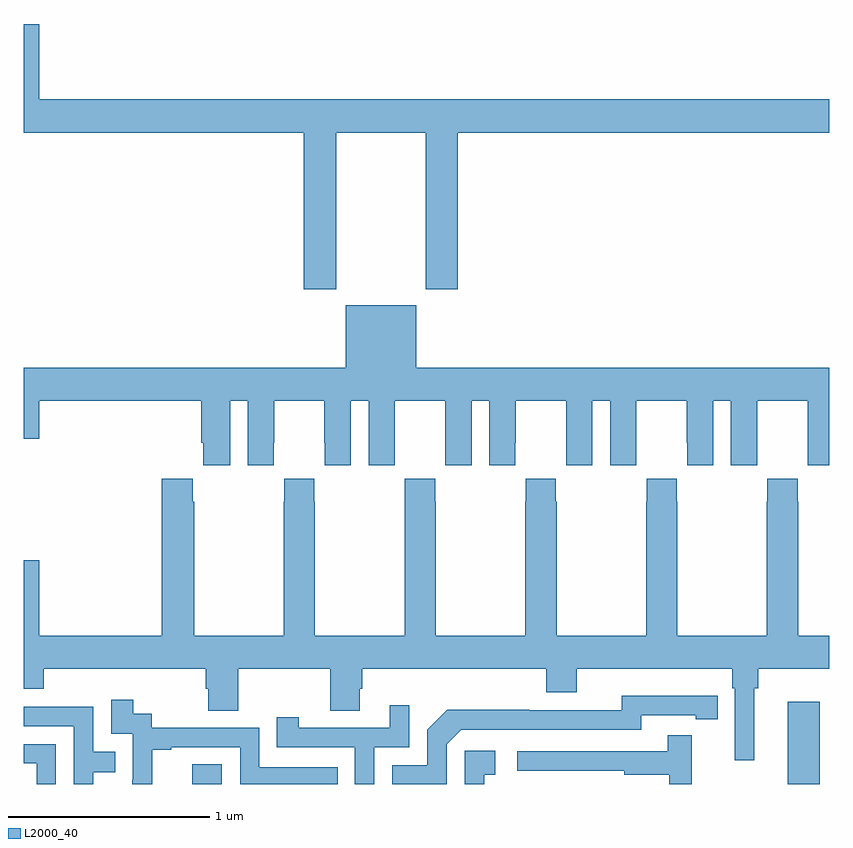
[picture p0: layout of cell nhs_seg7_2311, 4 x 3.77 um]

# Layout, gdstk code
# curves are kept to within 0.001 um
import gdstk
lib = gdstk.Library(unit=1e-6, precision=1e-09)
def R(c, l, rs):  # rectangles x0, y0, x1, y1
    for r in rs: c.add(gdstk.rectangle(r[:2], r[2:], *l))
def P(c, l, *ps):  # polygons
    for p in ps: c.add(gdstk.Polygon(p, *l))
L2000_40 = (2000, 40)

nhs_seg7_2311 = lib.new_cell('nhs_seg7_2311')
R(nhs_seg7_2311, L2000_40, [(261.837,1044,261.984,1044.097), (264.794,1044,264.953,1044.409)])
P(nhs_seg7_2311, L2000_40, [(262.551,1047.236),(262.996,1047.236),(262.996,1046.457),(263.156,1046.457),(263.156,1047.236),(265,1047.236),(265,1047.4),(261.076,1047.4),(261.076,1047.775),(261,1047.775),(261,1047.236),(262.391,1047.236),(262.391,1046.457),(262.551,1046.457)],
  [(262.024,1045.904),(262.112,1045.904),(262.112,1045.584),(262.242,1045.584),(262.242,1045.696),(262.243,1045.696),(262.243,1045.904),(262.493,1045.904),(262.493,1045.696),(262.494,1045.696),(262.494,1045.584),(262.624,1045.584),(262.624,1045.904),(262.712,1045.904),(262.712,1045.584),(262.842,1045.584),(262.842,1045.696),(262.843,1045.696),(262.843,1045.904),(263.093,1045.904),(263.093,1045.696),(263.094,1045.696),(263.094,1045.584),(263.224,1045.584),(263.224,1045.904),(263.312,1045.904),(263.312,1045.584),(263.442,1045.584),(263.442,1045.696),(263.443,1045.696),(263.443,1045.904),(263.693,1045.904),(263.693,1045.696),(263.694,1045.696),(263.694,1045.584),(263.824,1045.584),(263.824,1045.904),(263.912,1045.904),(263.912,1045.584),(264.042,1045.584),(264.042,1045.696),(264.043,1045.696),(264.043,1045.904),(264.293,1045.904),(264.293,1045.696),(264.294,1045.696),(264.294,1045.584),(264.424,1045.584),(264.424,1045.904),(264.512,1045.904),(264.512,1045.584),(264.642,1045.584),(264.642,1045.696),(264.643,1045.696),(264.643,1045.904),(264.893,1045.904),(264.893,1045.696),(264.894,1045.696),(264.894,1045.584),(265,1045.584),(265,1046.068),(262.948,1046.068),(262.948,1046.377),(262.598,1046.377),(262.598,1046.068),(261,1046.068),(261,1045.716),(261.076,1045.716),(261.076,1045.904),(261.881,1045.904),(261.881,1045.696),(261.89,1045.696),(261.89,1045.584),(262.024,1045.584)],
  [(264.628,1044.476),(264.647,1044.476),(264.647,1044.572),(265,1044.572),(265,1044.736),(264.846,1044.736),(264.846,1045.403),(264.843,1045.403),(264.843,1045.516),(264.693,1045.516),(264.693,1045.403),(264.691,1045.403),(264.691,1044.736),(264.246,1044.736),(264.246,1045.403),(264.243,1045.403),(264.243,1045.516),(264.093,1045.516),(264.093,1045.403),(264.091,1045.403),(264.091,1044.736),(263.646,1044.736),(263.646,1045.403),(263.643,1045.403),(263.643,1045.516),(263.493,1045.516),(263.493,1045.403),(263.491,1045.403),(263.491,1044.736),(263.046,1044.736),(263.046,1045.403),(263.043,1045.403),(263.043,1045.516),(262.893,1045.516),(262.893,1045.403),(262.891,1045.403),(262.891,1044.736),(262.446,1044.736),(262.446,1045.403),(262.443,1045.403),(262.443,1045.516),(262.293,1045.516),(262.293,1045.403),(262.291,1045.403),(262.291,1044.736),(261.846,1044.736),(261.846,1045.403),(261.839,1045.403),(261.839,1045.516),(261.686,1045.516),(261.686,1044.736),(261.076,1044.736),(261.076,1045.111),(261,1045.111),(261,1044.473),(261.098,1044.473),(261.098,1044.572),(261.904,1044.572),(261.904,1044.474),(261.917,1044.474),(261.917,1044.364),(262.065,1044.364),(262.065,1044.572),(262.522,1044.572),(262.522,1044.364),(262.669,1044.364),(262.669,1044.474),(262.682,1044.474),(262.682,1044.572),(263.594,1044.572),(263.594,1044.455),(263.746,1044.455),(263.746,1044.572),(264.518,1044.572),(264.518,1044.476),(264.531,1044.476),(264.531,1044.117),(264.628,1044.117)],
  [(263.1,1044.198),(263.172,1044.27),(264.066,1044.27),(264.066,1044.342),(264.338,1044.342),(264.338,1044.322),(264.446,1044.322),(264.446,1044.438),(263.97,1044.439),(263.97,1044.366),(263.51,1044.366),(263.51,1044.368),(263.102,1044.368),(263.004,1044.27),(263.004,1044.093),(262.83,1044.093),(262.83,1044),(263.1,1044)],
  [(261.638,1044.171),(261.733,1044.171),(261.733,1044.183),(262.074,1044.183),(262.074,1044),(262.559,1044),(262.559,1044.084),(262.17,1044.084),(262.17,1044.279),(261.636,1044.279),(261.636,1044.348),(261.544,1044.348),(261.544,1044.418),(261.435,1044.418),(261.435,1044.249),(261.54,1044.249),(261.54,1044.02),(261.539,1044.02),(261.539,1044),(261.638,1044)],
  [(262.74,1044.183),(262.914,1044.183),(262.914,1044.391),(262.817,1044.391),(262.817,1044.279),(262.366,1044.279),(262.366,1044.331),(262.255,1044.331),(262.255,1044.183),(262.644,1044.183),(262.644,1044),(262.74,1044)],
  [(261.345,1044.058),(261.455,1044.058),(261.455,1044.159),(261.345,1044.159),(261.345,1044.384),(261,1044.384),(261,1044.288),(261.249,1044.288),(261.249,1044),(261.345,1044)],
  [(264.317,1044.241),(264.199,1044.241),(264.199,1044.162),(263.451,1044.162),(263.451,1044.066),(263.983,1044.066),(263.983,1044.046),(264.207,1044.046),(264.207,1044),(264.317,1044)],
  [(261.159,1044.198),(261,1044.198),(261,1044.102),(261.063,1044.102),(261.063,1044),(261.159,1044)],
  [(263.288,1044.045),(263.341,1044.045),(263.341,1044.166),(263.19,1044.166),(263.19,1044),(263.288,1044)])

lib.write_gds('nhs_seg7_2311.gds')
